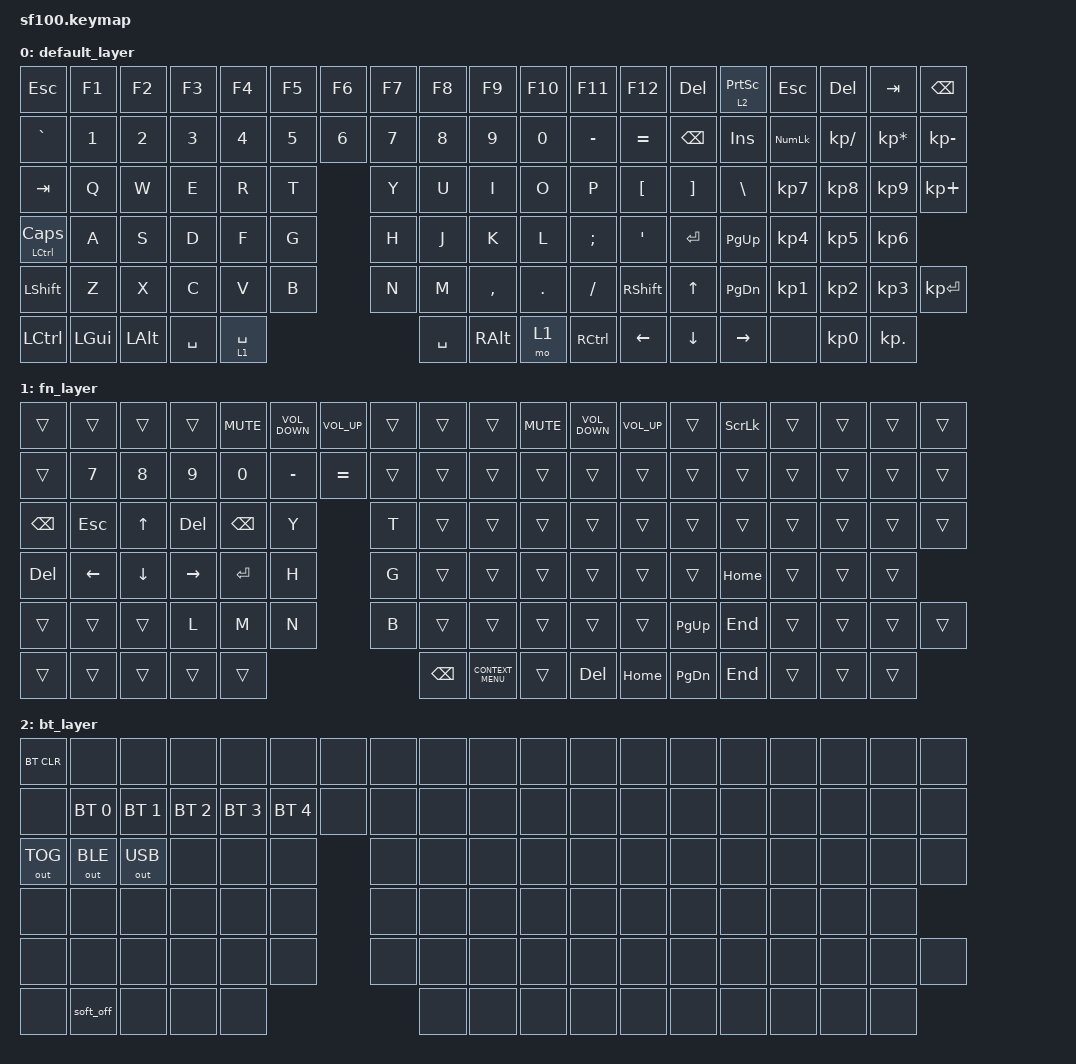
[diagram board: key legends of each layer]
#include <behaviors.dtsi>
#include <dt-bindings/zmk/bt.h>
#include <dt-bindings/zmk/keys.h>
#include <dt-bindings/zmk/outputs.h>

#define DEFAULT 0

#define AS(keycode) &as LS(keycode) keycode

/ {
    keymap {
        compatible = "zmk,keymap";

        default_layer {
            bindings = <
&kp ESC         &kp F1    &kp F2    &kp F3     &kp F4       &kp F5  &kp F6  &kp F7  &kp F8     &kp F9     &kp F10  &kp F11    &kp F12    &kp DEL    &lt 2 PRINTSCREEN  &kp ESCAPE  &kp DELETE     &kp TAB          &kp BSPC
&kp GRAVE       &kp N1    &kp N2    &kp N3     &kp N4       &kp N5  &kp N6  &kp N7  &kp N8     &kp N9     &kp N0   &kp MINUS  &kp EQUAL  &kp BSPC   &kp INS            &kp KP_NUM  &kp KP_DIVIDE  &kp KP_MULTIPLY  &kp KP_MINUS
&kp TAB         &kp Q     &kp W     &kp E      &kp R        &kp T           &kp Y   &kp U      &kp I      &kp O    &kp P      &kp LBKT   &kp RBKT   &kp BSLH           &kp KP_N7   &kp KP_N8      &kp KP_N9        &kp KP_PLUS
&mt LCTRL CAPS  &kp A     &kp S     &kp D      &kp F        &kp G           &kp H   &kp J      &kp K      &kp L    &kp SEMI   &kp APOS   &kp ENTER  &kp PG_UP          &kp KP_N4   &kp KP_N5      &kp KP_N6
&kp LSHFT       &kp Z     &kp X     &kp C      &kp V        &kp B           &kp N   &kp M      &kp COMMA  &kp DOT  &kp FSLH   &kp RSHFT  &kp UP     &kp PG_DN          &kp KP_N1   &kp KP_N2      &kp KP_N3        &kp KP_ENTER
&kp LCTRL       &kp LGUI  &kp LALT  &kp SPACE  &lt 1 SPACE                          &kp SPACE  &kp RALT   &mo 1    &kp RCTRL  &kp LEFT   &kp DOWN   &kp RIGHT          &none       &kp KP_N0      &kp KP_DOT
            >;
        };

        fn_layer {
            bindings = <
&trans         &trans      &trans    &trans      &kp C_MUTE     &kp C_VOLUME_DOWN  &kp C_VOLUME_UP  &trans  &trans         &trans              &kp C_MUTE  &kp C_VOLUME_DOWN  &kp C_VOLUME_UP  &trans         &kp SCROLLLOCK  &trans  &trans  &trans  &trans
&trans         &kp N7      &kp N8    &kp N9      &kp N0         &kp MINUS          &kp EQUAL        &trans  &trans         &trans              &trans      &trans             &trans           &trans         &trans          &trans  &trans  &trans  &trans
&kp BACKSPACE  &kp ESCAPE  &kp UP    &kp DELETE  &kp BACKSPACE  &kp Y                               &kp T   &trans         &trans              &trans      &trans             &trans           &trans         &trans          &trans  &trans  &trans  &trans
&kp DELETE     &kp LEFT    &kp DOWN  &kp RIGHT   &kp ENTER      &kp H                               &kp G   &trans         &trans              &trans      &trans             &trans           &trans         &kp HOME        &trans  &trans  &trans
&trans         &trans      &trans    &kp L       &kp M          &kp N                               &kp B   &trans         &trans              &trans      &trans             &trans           &kp PAGE_UP    &kp END         &trans  &trans  &trans  &trans
&trans         &trans      &trans    &trans      &trans                                                     &kp BACKSPACE  &kp K_CONTEXT_MENU  &trans      &kp DELETE         &kp HOME         &kp PAGE_DOWN  &kp END         &trans  &trans  &trans
            >;
        };

        bt_layer {
            bindings = <
&bt BT_CLR    &none         &none         &none         &none         &none         &none  &none  &none  &none  &none  &none  &none  &none  &none  &none  &none  &none  &none
&none         &bt BT_SEL 0  &bt BT_SEL 1  &bt BT_SEL 2  &bt BT_SEL 3  &bt BT_SEL 4  &none  &none  &none  &none  &none  &none  &none  &none  &none  &none  &none  &none  &none
&out OUT_TOG  &out OUT_BLE  &out OUT_USB  &none         &none         &none                &none  &none  &none  &none  &none  &none  &none  &none  &none  &none  &none  &none
&none         &none         &none         &none         &none         &none                &none  &none  &none  &none  &none  &none  &none  &none  &none  &none  &none
&none         &none         &none         &none         &none         &none                &none  &none  &none  &none  &none  &none  &none  &none  &none  &none  &none  &none
&none         &soft_off     &none         &none         &none                                     &none  &none  &none  &none  &none  &none  &none  &none  &none  &none
            >;
        };
    };
};
